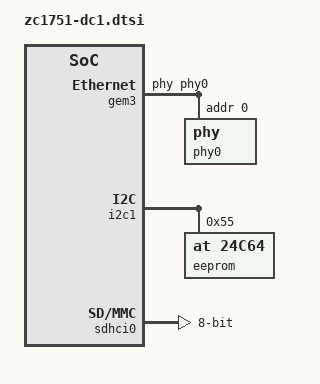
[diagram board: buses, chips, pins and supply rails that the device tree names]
&gem3 {
	phy-handle = <&phy0>;
	phy0: phy@0 {
		reg = <0>;
	};
};

&i2c1 {
	eeprom@54 {
		compatible = "at,24c64"; /* 24AA64 */
		reg = <0x55>;
	};
};

/* eMMC */
&sdhci0 {
	bus-width = <8>;
};

/* SD1 with level shifter */
&sdhci1 {
	no-1-8-v;       /* for 1.0 silicon */
};

&sata {
	ceva,p0-cominit-params = /bits/ 8 <0x1B 0x4D 0x18 0x28>;
	ceva,p0-comwake-params = /bits/ 8 <0x06 0x19 0x08 0x0E>;
	ceva,p0-burst-params = /bits/ 8 <0x13 0x08 0x4A 0x06>;
	ceva,p0-retry-params = /bits/ 16 <0x96A4 0x3FFC>;

	ceva,p1-cominit-params = /bits/ 8 <0x1B 0x4D 0x18 0x28>;
	ceva,p1-comwake-params = /bits/ 8 <0x06 0x19 0x08 0x0E>;
	ceva,p1-burst-params = /bits/ 8 <0x13 0x08 0x4A 0x06>;
	ceva,p1-retry-params = /bits/ 16 <0x96A4 0x3FFC>;

};

&amba {
	u-boot,dm-pre-reloc;
};

&uart0 {
	u-boot,dm-pre-reloc;
};
